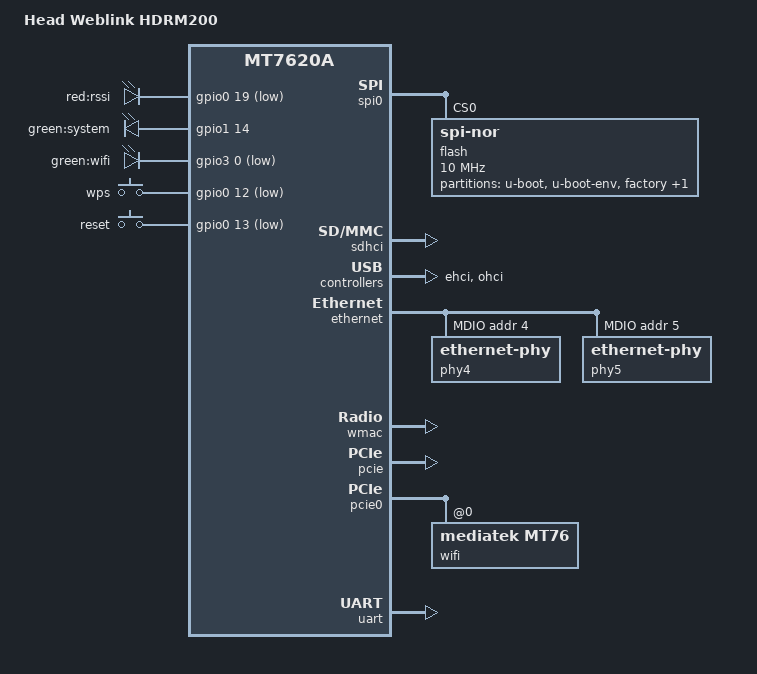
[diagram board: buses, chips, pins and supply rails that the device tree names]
// SPDX-License-Identifier: GPL-2.0-or-later OR MIT

#include "mt7620a.dtsi"

#include <dt-bindings/gpio/gpio.h>
#include <dt-bindings/input/input.h>

/ {
	compatible = "head-weblink,hdrm200", "ralink,mt7620a-soc";
	model = "Head Weblink HDRM200";

	aliases {
		led-boot = &led_system;
		led-failsafe = &led_system;
		led-running = &led_system;
		led-upgrade = &led_system;
	};

	chosen {
		bootargs = "console=ttyS1,57600";
	};

	leds {
		compatible = "gpio-leds";

		rssi {
			label = "red:rssi";
			gpios = <&gpio0 19 GPIO_ACTIVE_LOW>;
		};

		led_system: system {
			label = "green:system";
			gpios = <&gpio1 14 GPIO_ACTIVE_HIGH>;
		};

		air {
			label = "green:wifi";
			gpios = <&gpio3 0 GPIO_ACTIVE_LOW>;
		};
	};

	keys {
		compatible = "gpio-keys";

		wps {
			label = "wps";
			gpios = <&gpio0 12 GPIO_ACTIVE_LOW>;
			linux,code = <KEY_WPS_BUTTON>;
		};

		reset {
			label = "reset";
			gpios = <&gpio0 13 GPIO_ACTIVE_LOW>;
			linux,code = <KEY_RESTART>;
		};
	};
};

&spi0 {
	status = "okay";

	flash@0 {
		compatible = "jedec,spi-nor";
		reg = <0>;
		spi-max-frequency = <10000000>;

		partitions {
			compatible = "fixed-partitions";
			#address-cells = <1>;
			#size-cells = <1>;

			partition@0 {
				label = "u-boot";
				reg = <0x0 0x30000>;
				read-only;
			};

			partition@30000 {
				label = "u-boot-env";
				reg = <0x30000 0x10000>;
				read-only;
			};

			factory: partition@40000 {
				label = "factory";
				reg = <0x40000 0x10000>;
				read-only;
			};

			firmware: partition@50000 {
				compatible = "denx,uimage";
				label = "firmware";
				reg = <0x50000 0xfb0000>;
			};
		};
	};
};

&gpio1 {
	status = "okay";
};

&gpio3 {
	status = "okay";
};

&sdhci {
	status = "okay";
};

&ehci {
	status = "okay";
};

&ohci {
	status = "okay";
};

&ethernet {
	pinctrl-names = "default";
	pinctrl-0 = <&rgmii1_pins &rgmii2_pins &mdio_pins>;

	mtd-mac-address = <&factory 0x4>;

	port@4 {
		status = "okay";
		phy-handle = <&phy4>;
		phy-mode = "rgmii";
	};

	port@5 {
		status = "okay";
		phy-handle = <&phy5>;
		phy-mode = "rgmii";
	};

	mdio-bus {
		status = "okay";

		phy4: ethernet-phy@4 {
			reg = <4>;
			phy-mode = "rgmii";
		};

		phy5: ethernet-phy@5 {
			reg = <5>;
			phy-mode = "rgmii";
		};
	};
};

&wmac {
	ralink,mtd-eeprom = <&factory 0x0>;
};

&state_default {
	default {
		groups = "i2c", "uartf", "pa", "spi refclk",
			       "wled";
		function = "gpio";
	};
};

&pcie {
	status = "okay";
};

&pcie0 {
	wifi@0,0 {
		compatible = "mediatek,mt76";
		reg = <0x0000 0 0 0 0>;
		mediatek,mtd-eeprom = <&factory 0x8000>;
		ieee80211-freq-limit = <5000000 6000000>;
	};
};

&uart {
	status = "okay";
};
